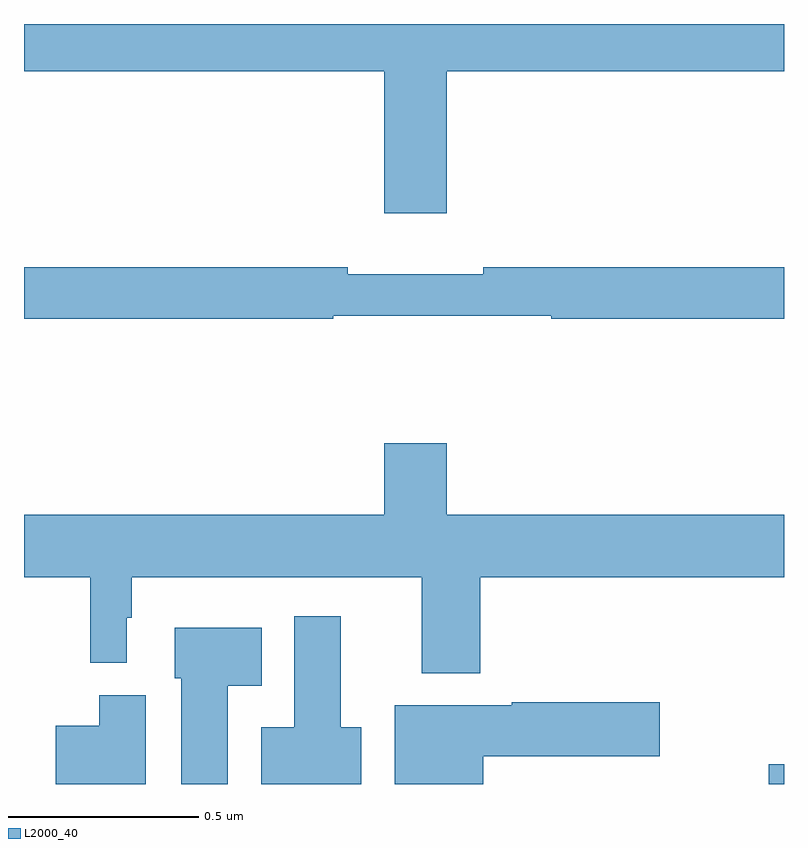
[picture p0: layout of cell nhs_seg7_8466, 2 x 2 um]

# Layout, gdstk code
import gdstk
lib = gdstk.Library(unit=1e-6, precision=1e-09)
def R(c, l, rs):  # rectangles x0, y0, x1, y1
    for r in rs: c.add(gdstk.rectangle(r[:2], r[2:], *l))
def P(c, l, *ps):  # polygons
    for p in ps: c.add(gdstk.Polygon(p, *l))
L2000_40 = (2000, 40)

nhs_seg7_8466 = lib.new_cell('nhs_seg7_8466')
R(nhs_seg7_8466, L2000_40, [(225.96,1072,226,1072.052)])
P(nhs_seg7_8466, L2000_40, [(225.112,1073.876),(226,1073.876),(226,1074),(224,1074),(224,1073.876),(224.948,1073.876),(224.948,1073.502),(225.112,1073.502)],
  [(224.814,1073.232),(225.388,1073.232),(225.388,1073.224),(226,1073.224),(226,1073.36),(225.208,1073.36),(225.208,1073.341),(224.852,1073.341),(224.852,1073.36),(224,1073.36),(224,1073.224),(224.814,1073.224)],
  [(225.2,1072.544),(226,1072.544),(226,1072.708),(225.112,1072.708),(225.112,1072.897),(224.948,1072.897),(224.948,1072.708),(224,1072.708),(224,1072.544),(224.174,1072.544),(224.174,1072.319),(224.271,1072.319),(224.271,1072.437),(224.284,1072.437),(224.284,1072.544),(225.047,1072.544),(225.047,1072.292),(225.2,1072.292)],
  [(224.887,1072.15),(224.833,1072.15),(224.833,1072.441),(224.711,1072.441),(224.711,1072.15),(224.624,1072.15),(224.624,1072),(224.887,1072)],
  [(224.536,1072.259),(224.626,1072.259),(224.626,1072.411),(224.397,1072.411),(224.397,1072.278),(224.414,1072.278),(224.414,1072),(224.536,1072)],
  [(224.32,1072.234),(224.198,1072.234),(224.198,1072.153),(224.084,1072.153),(224.084,1072),(224.32,1072)],
  [(225.208,1072.073),(225.673,1072.073),(225.673,1072.215),(225.283,1072.215),(225.283,1072.207),(224.975,1072.207),(224.975,1072),(225.208,1072)])

lib.write_gds('nhs_seg7_8466.gds')
